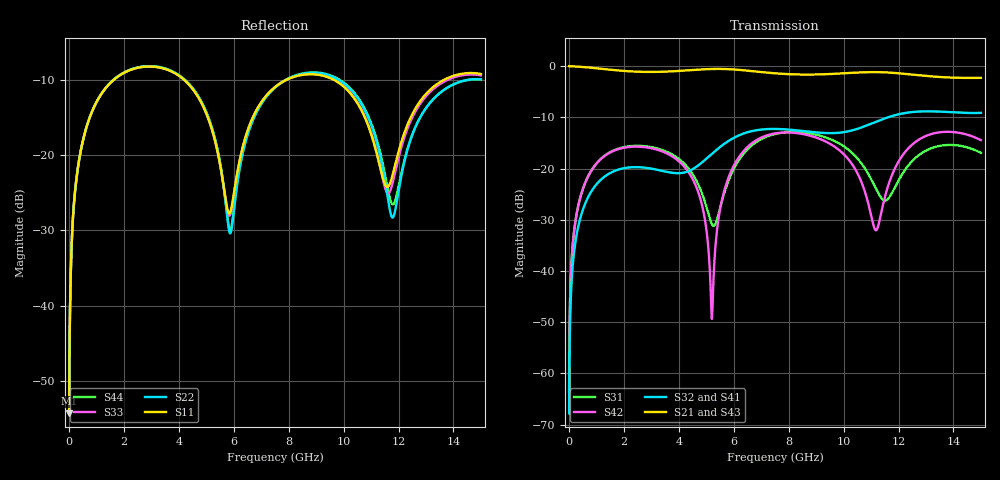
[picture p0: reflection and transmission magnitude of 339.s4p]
! Created with skrf 1.8.0 (http://scikit-rf.org).
# GHz S RI R 50.0
!freq ReS11 ImS11 ReS12 ImS12 ReS13 ImS13
! ReS14 ImS14
! ReS21 ImS21 ReS22 ImS22 ReS23 ImS23
! ReS24 ImS24
! ReS31 ImS31 ReS32 ImS32 ReS33 ImS33
! ReS34 ImS34
! ReS41 ImS41 ReS42 ImS42 ReS43 ImS43
! ReS44 ImS44
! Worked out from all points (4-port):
!   2499 points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, 5 MHz to 15 GHz, reference 50 ohm
!   strongest paths, dB at 5 MHz, 3.476 GHz, 7.19 GHz, 11.1 GHz, 15 GHz:
!     S21: 0.0, -1.1, -1.3, -1.2, -2.3
!     S43: 0.0, -1.1, -1.3, -1.2, -2.3
!     S32: -67.8, -20.5, -12.3, -11.0, -9.1
!     S41: -67.8, -20.6, -12.3, -11.0, -9.2
!     S42: -63.7, -16.8, -13.6, -31.3, -14.5
!     S31: -63.7, -16.5, -13.8, -23.1, -16.9
!   lowest |S11| = -54.3 dB at 5 MHz (marker M1), VSWR 1.00, Z = 50.2 + j0.116 ohm
!   |S11| at or under -10 dB: start of sweep to 1.621 GHz; 4.201 GHz to 7.907 GHz (3.706 GHz wide, 61.2 % of centre); 9.656 GHz to 13.65 GHz (3.99 GHz wide, 34.2 % of centre)
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0.005  0.00153 0.00116  0.9984 -0.00299  7.82e-05 0.000652  -7.57e-05 -0.000401
       0.9984 -0.00299  0.00153 0.00116  -7.57e-05 -0.000401  7.81e-05 0.000652
       7.82e-05 0.000652  -7.57e-05 -0.000401  0.00153 0.00116  0.9984 -0.00299
       -7.57e-05 -0.000401  7.81e-05 0.000652  0.9984 -0.00299  0.00153 0.00116
0.3126303  0.0215 0.0767  0.9706 -0.1862  0.0105 0.0389  -0.00856 -0.0238
           0.9706 -0.1862  0.0215 0.0767  -0.00856 -0.0238  0.0102 0.039
           0.0105 0.0389  -0.00856 -0.0238  0.0215 0.0767  0.9706 -0.1862
           -0.00856 -0.0238  0.0102 0.039  0.9706 -0.1862  0.0215 0.0767
1.569404  0.2508 0.1825  0.586 -0.7064  0.1313 0.0682  -0.0916 -0.0124
          0.586 -0.7064  0.2523 0.1817  -0.0916 -0.0124  0.1265 0.0741
          0.1313 0.0682  -0.0916 -0.0124  0.2508 0.1825  0.586 -0.7064
          -0.0916 -0.0124  0.1265 0.0741  0.586 -0.7064  0.2523 0.1816
5.202168  0.082 -0.1242  -0.8476 -0.4002  -0.0247 -0.0147  -0.0553 0.1277
          -0.8476 -0.4002  0.0745 -0.133  -0.055 0.1278  0.00333 0.000734
          -0.0247 -0.0147  -0.055 0.1278  0.0812 -0.1248  -0.8476 -0.4001
          -0.0553 0.1277  0.00333 0.000734  -0.8476 -0.4001  0.0754 -0.1328
6.221342  0.0638 0.0684  -0.9082 0.1292  0.0329 0.1205  0.0451 0.2076
          -0.9082 0.1292  0.0512 0.0649  0.0456 0.2077  0.0553 0.121
          0.0329 0.1205  0.0456 0.2077  0.0623 0.0686  -0.9082 0.1294
          0.0451 0.2076  0.0553 0.121  -0.9082 0.1294  0.0528 0.0647
9.21634  0.3334 -0.0606  0.0426 0.8299  0.1728 -0.1133  0.2048 -0.0869
         0.0426 0.8299  0.3427 -0.0659  0.2049 -0.0883  0.1774 -0.0698
         0.1728 -0.1133  0.2049 -0.0883  0.3347 -0.0604  0.0428 0.8292
         0.2048 -0.0869  0.1774 -0.0698  0.0428 0.8292  0.345 -0.0667
15  0.3444 -0.0411  0.0652 -0.7653  0.1001 -0.1012  -0.3463 0.0198
    0.0652 -0.7653  0.3194 0.00707  -0.3487 0.0253  0.1219 -0.1448
    0.1001 -0.1012  -0.3487 0.0253  0.3384 -0.0257  0.0633 -0.7673
    -0.3463 0.0198  0.1219 -0.1448  0.0633 -0.7673  0.317 -0.0109
